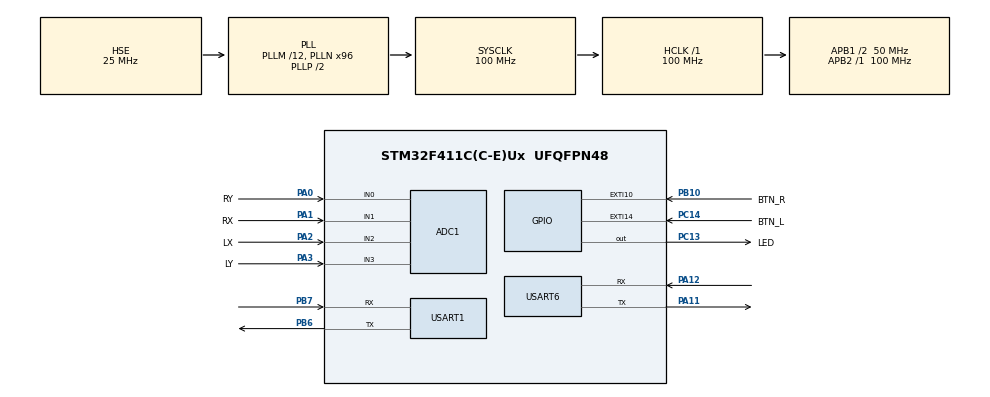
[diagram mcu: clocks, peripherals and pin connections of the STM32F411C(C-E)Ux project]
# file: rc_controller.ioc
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ADC1.Channel-2\#ChannelRegularConversion=ADC_CHANNEL_0
ADC1.Channel-3\#ChannelRegularConversion=ADC_CHANNEL_1
ADC1.Channel-4\#ChannelRegularConversion=ADC_CHANNEL_2
ADC1.Channel-5\#ChannelRegularConversion=ADC_CHANNEL_3
ADC1.ContinuousConvMode=ENABLE
ADC1.DMAContinuousRequests=ENABLE
ADC1.DiscontinuousConvMode=DISABLE
ADC1.EOCSelection=ADC_EOC_SINGLE_CONV
ADC1.InjNumberOfConversion=0
ADC1.NbrOfConversion=4
ADC1.NbrOfConversionFlag=1
ADC1.Rank-2\#ChannelRegularConversion=1
ADC1.Rank-3\#ChannelRegularConversion=2
ADC1.Rank-4\#ChannelRegularConversion=3
ADC1.Rank-5\#ChannelRegularConversion=4
ADC1.SamplingTime-2\#ChannelRegularConversion=ADC_SAMPLETIME_84CYCLES
ADC1.SamplingTime-3\#ChannelRegularConversion=ADC_SAMPLETIME_84CYCLES
ADC1.SamplingTime-4\#ChannelRegularConversion=ADC_SAMPLETIME_84CYCLES
ADC1.SamplingTime-5\#ChannelRegularConversion=ADC_SAMPLETIME_84CYCLES
ADC1.master=1
Dma.ADC1.4.Direction=DMA_PERIPH_TO_MEMORY
Dma.ADC1.4.FIFOMode=DMA_FIFOMODE_DISABLE
Dma.ADC1.4.Instance=DMA2_Stream0
Dma.ADC1.4.MemDataAlignment=DMA_MDATAALIGN_HALFWORD
Dma.ADC1.4.MemInc=DMA_MINC_ENABLE
Dma.ADC1.4.Mode=DMA_CIRCULAR
Dma.ADC1.4.PeriphDataAlignment=DMA_PDATAALIGN_HALFWORD
Dma.ADC1.4.PeriphInc=DMA_PINC_DISABLE
Dma.ADC1.4.Priority=DMA_PRIORITY_LOW
Dma.Request0=USART6_RX
Dma.Request1=USART6_TX
Dma.Request2=USART1_TX
Dma.Request3=USART1_RX
Dma.Request4=ADC1
Dma.USART1_RX.3.Direction=DMA_PERIPH_TO_MEMORY
Dma.USART1_RX.3.FIFOMode=DMA_FIFOMODE_DISABLE
Dma.USART1_RX.3.Instance=DMA2_Stream2
Dma.USART1_RX.3.MemDataAlignment=DMA_MDATAALIGN_BYTE
Dma.USART1_RX.3.MemInc=DMA_MINC_ENABLE
Dma.USART1_RX.3.Mode=DMA_NORMAL
Dma.USART1_RX.3.PeriphDataAlignment=DMA_PDATAALIGN_BYTE
Dma.USART1_RX.3.PeriphInc=DMA_PINC_DISABLE
Dma.USART1_RX.3.Priority=DMA_PRIORITY_LOW
Dma.USART1_TX.2.Direction=DMA_MEMORY_TO_PERIPH
Dma.USART1_TX.2.FIFOMode=DMA_FIFOMODE_DISABLE
Dma.USART1_TX.2.Instance=DMA2_Stream7
Dma.USART1_TX.2.MemDataAlignment=DMA_MDATAALIGN_BYTE
Dma.USART1_TX.2.MemInc=DMA_MINC_ENABLE
Dma.USART1_TX.2.Mode=DMA_NORMAL
Dma.USART1_TX.2.PeriphDataAlignment=DMA_PDATAALIGN_BYTE
Dma.USART1_TX.2.PeriphInc=DMA_PINC_DISABLE
Dma.USART1_TX.2.Priority=DMA_PRIORITY_LOW
Dma.USART6_RX.0.Direction=DMA_PERIPH_TO_MEMORY
Dma.USART6_RX.0.FIFOMode=DMA_FIFOMODE_DISABLE
Dma.USART6_RX.0.Instance=DMA2_Stream1
Dma.USART6_RX.0.MemDataAlignment=DMA_MDATAALIGN_BYTE
Dma.USART6_RX.0.MemInc=DMA_MINC_ENABLE
Dma.USART6_RX.0.Mode=DMA_NORMAL
Dma.USART6_RX.0.PeriphDataAlignment=DMA_PDATAALIGN_BYTE
Dma.USART6_RX.0.PeriphInc=DMA_PINC_DISABLE
Dma.USART6_RX.0.Priority=DMA_PRIORITY_LOW
Dma.USART6_TX.1.Direction=DMA_MEMORY_TO_PERIPH
Dma.USART6_TX.1.FIFOMode=DMA_FIFOMODE_DISABLE
Dma.USART6_TX.1.Instance=DMA2_Stream6
Dma.USART6_TX.1.MemDataAlignment=DMA_MDATAALIGN_BYTE
Dma.USART6_TX.1.MemInc=DMA_MINC_ENABLE
Dma.USART6_TX.1.Mode=DMA_NORMAL
Dma.USART6_TX.1.PeriphDataAlignment=DMA_PDATAALIGN_BYTE
Dma.USART6_TX.1.PeriphInc=DMA_PINC_DISABLE
Dma.USART6_TX.1.Priority=DMA_PRIORITY_LOW
FREERTOS.Tasks01=defaultTask,24,128,StartDefaultTask,Default,NULL,Dynamic,NULL,NULL;task1,24,128,thread1,Default,NULL,Dynamic,NULL,NULL;task2,24,128,thread2,Default,NULL,Dynamic,NULL,NULL;task3,18,128,thread3,Default,NULL,Dynamic,NULL,NULL
FREERTOS.configUSE_NEWLIB_REENTRANT=1
Mcu.Family=STM32F4
Mcu.Name=STM32F411C(C-E)Ux
Mcu.Package=UFQFPN48
NVIC.ADC_IRQn=true\:5\:0\:false\:false\:true\:true\:true\:true\:true
NVIC.DMA2_Stream0_IRQn=true\:5\:0\:false\:false\:true\:true\:false\:true\:true
NVIC.DMA2_Stream1_IRQn=true\:5\:0\:false\:false\:true\:true\:false\:true\:true
NVIC.DMA2_Stream2_IRQn=true\:5\:0\:false\:false\:true\:true\:false\:true\:true
NVIC.DMA2_Stream6_IRQn=true\:5\:0\:false\:false\:true\:true\:false\:true\:true
NVIC.DMA2_Stream7_IRQn=true\:5\:0\:false\:false\:true\:true\:false\:true\:true
NVIC.EXTI15_10_IRQn=true\:5\:0\:false\:false\:true\:true\:true\:true\:true
NVIC.PriorityGroup=NVIC_PRIORITYGROUP_4
NVIC.TIM1_TRG_COM_TIM11_IRQn=true\:15\:0\:false\:false\:true\:false\:false\:true\:true
NVIC.TimeBase=TIM1_TRG_COM_TIM11_IRQn
NVIC.TimeBaseIP=TIM11
NVIC.USART1_IRQn=true\:5\:0\:false\:false\:true\:true\:false\:true\:true
NVIC.USART6_IRQn=true\:5\:0\:false\:false\:true\:true\:true\:true\:true
PA0-WKUP.GPIO_Label=RY
PA0-WKUP.Signal=ADCx_IN0
PA1.GPIO_Label=RX
PA1.Signal=ADCx_IN1
PA11.Mode=Asynchronous
PA11.Signal=USART6_TX
PA12.Mode=Asynchronous
PA12.Signal=USART6_RX
PA2.GPIO_Label=LX
PA2.Signal=ADCx_IN2
PA3.GPIO_Label=LY
PA3.Signal=ADCx_IN3
PB10.GPIO_Label=BTN_R
PB10.GPIO_ModeDefaultEXTI=GPIO_MODE_IT_FALLING
PB10.GPIO_PuPd=GPIO_PULLUP
PB10.Signal=GPXTI10
PB6.Mode=Asynchronous
PB6.Signal=USART1_TX
PB7.Mode=Asynchronous
PB7.Signal=USART1_RX
PC13-ANTI_TAMP.GPIO_Label=LED
PC13-ANTI_TAMP.Signal=GPIO_Output
PC14-OSC32_IN.GPIO_Label=BTN_L
PC14-OSC32_IN.GPIO_ModeDefaultEXTI=GPIO_MODE_IT_FALLING
PC14-OSC32_IN.GPIO_PuPd=GPIO_PULLUP
PC14-OSC32_IN.Signal=GPXTI14
PH0\ -\ OSC_IN.Mode=HSE-External-Oscillator
PH0\ -\ OSC_IN.Signal=RCC_OSC_IN
PH1\ -\ OSC_OUT.Mode=HSE-External-Oscillator
PH1\ -\ OSC_OUT.Signal=RCC_OSC_OUT
ProjectManager.HeapSize=0x200
ProjectManager.StackSize=0x400
ProjectManager.TargetToolchain=Makefile
RCC.48MHZClocksFreq_Value=50000000
RCC.AHBFreq_Value=100000000
RCC.APB1CLKDivider=RCC_HCLK_DIV2
RCC.APB1Freq_Value=50000000
RCC.APB1TimFreq_Value=100000000
RCC.APB2Freq_Value=100000000
RCC.APB2TimFreq_Value=100000000
RCC.CortexFreq_Value=100000000
RCC.HCLKFreq_Value=100000000
RCC.HSE_VALUE=25000000
RCC.HSI_VALUE=16000000
RCC.LSE_VALUE=32768
RCC.PLLM=12
RCC.PLLN=96
RCC.PLLSourceVirtual=RCC_PLLSOURCE_HSE
RCC.SYSCLKFreq_VALUE=100000000
RCC.SYSCLKSource=RCC_SYSCLKSOURCE_PLLCLK
RCC.VCOOutputFreq_Value=200000000
SH.ADCx_IN0.0=ADC1_IN0,IN0
SH.ADCx_IN1.0=ADC1_IN1,IN1
SH.ADCx_IN2.0=ADC1_IN2,IN2
SH.ADCx_IN3.0=ADC1_IN3,IN3
USART1.VirtualMode=VM_ASYNC
USART6.VirtualMode=VM_ASYNC
VP_FREERTOS_VS_CMSIS_V2.Mode=CMSIS_V2
VP_SYS_VS_tim11.Mode=TIM11
board=custom

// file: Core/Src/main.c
/* USER CODE BEGIN Header */
/**
  ******************************************************************************
  * @file           : main.c
  * @brief          : Main program body
  ******************************************************************************
  * @attention
  *
  * Copyright (c) 2024 STMicroelectronics.
  * All rights reserved.
  *
  * This software is licensed under terms that can be found in the LICENSE file
  * in the root directory of this software component.
  * If no LICENSE file comes with this software, it is provided AS-IS.
  *
  ******************************************************************************
  */
/* USER CODE END Header */
#include "main.h"
#include "cmsis_os.h"
#include "adc.h"
#include "dma.h"
#include "usart.h"
#include "gpio.h"

void SystemClock_Config(void);
void MX_FREERTOS_Init(void);

int main(void)
{

  /* MCU Configuration--------------------------------------------------------*/

  /* Reset of all peripherals, Initializes the Flash interface and the Systick. */
  HAL_Init();

  /* Configure the system clock */
  SystemClock_Config();

  /* Initialize all configured peripherals */
  MX_GPIO_Init();
  MX_DMA_Init();
  MX_USART6_UART_Init();
  MX_USART1_UART_Init();
  MX_ADC1_Init();

  /* Init scheduler */
  osKernelInitialize();

  /* Call init function for freertos objects (in cmsis_os2.c) */
  MX_FREERTOS_Init();

  /* Start scheduler */
  osKernelStart();

  /* We should never get here as control is now taken by the scheduler */

  /* Infinite loop */
  while (1)
  {

  }
}

void SystemClock_Config(void)
{
  RCC_OscInitTypeDef RCC_OscInitStruct = {0};
  RCC_ClkInitTypeDef RCC_ClkInitStruct = {0};

  /** Configure the main internal regulator output voltage
  */
  __HAL_RCC_PWR_CLK_ENABLE();
  __HAL_PWR_VOLTAGESCALING_CONFIG(PWR_REGULATOR_VOLTAGE_SCALE1);

  /** Initializes the RCC Oscillators according to the specified parameters
  * in the RCC_OscInitTypeDef structure.
  */
  RCC_OscInitStruct.OscillatorType = RCC_OSCILLATORTYPE_HSE;
  RCC_OscInitStruct.HSEState = RCC_HSE_ON;
  RCC_OscInitStruct.PLL.PLLState = RCC_PLL_ON;
  RCC_OscInitStruct.PLL.PLLSource = RCC_PLLSOURCE_HSE;
  RCC_OscInitStruct.PLL.PLLM = 12;
  RCC_OscInitStruct.PLL.PLLN = 96;
  RCC_OscInitStruct.PLL.PLLP = RCC_PLLP_DIV2;
  RCC_OscInitStruct.PLL.PLLQ = 4;
  if (HAL_RCC_OscConfig(&RCC_OscInitStruct) != HAL_OK)
  {
    Error_Handler();
  }

  /** Initializes the CPU, AHB and APB buses clocks
  */
  RCC_ClkInitStruct.ClockType = RCC_CLOCKTYPE_HCLK|RCC_CLOCKTYPE_SYSCLK
                              |RCC_CLOCKTYPE_PCLK1|RCC_CLOCKTYPE_PCLK2;
  RCC_ClkInitStruct.SYSCLKSource = RCC_SYSCLKSOURCE_PLLCLK;
  RCC_ClkInitStruct.AHBCLKDivider = RCC_SYSCLK_DIV1;
  RCC_ClkInitStruct.APB1CLKDivider = RCC_HCLK_DIV2;
  RCC_ClkInitStruct.APB2CLKDivider = RCC_HCLK_DIV1;

  if (HAL_RCC_ClockConfig(&RCC_ClkInitStruct, FLASH_LATENCY_3) != HAL_OK)
  {
    Error_Handler();
  }
}

void HAL_TIM_PeriodElapsedCallback(TIM_HandleTypeDef *htim)
{
  if (htim->Instance == TIM11) {
    HAL_IncTick();
  }
}

void Error_Handler(void)
{
  __disable_irq();
  while (1)
  {
  }
}

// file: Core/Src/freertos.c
/* USER CODE BEGIN Header */
/**
  ******************************************************************************
  * File Name          : freertos.c
  * Description        : Code for freertos applications
  ******************************************************************************
  * @attention
  *
  * Copyright (c) 2024 STMicroelectronics.
  * All rights reserved.
  *
  * This software is licensed under terms that can be found in the LICENSE file
  * in the root directory of this software component.
  * If no LICENSE file comes with this software, it is provided AS-IS.
  *
  ******************************************************************************
  */
 #include <stdio.h>
 #include <string.h>
/* USER CODE END Header */

#include "FreeRTOS.h"
#include "task.h"
#include "main.h"
#include "cmsis_os.h"

/* USER CODE BEGIN Includes */
#include "usart.h"
#include "adc.h"
/* USER CODE END Includes */

/* USER CODE BEGIN PD */
#ifdef __GNUC__
#define PUTCHAR_PROTOTYPE int __io_putchar(int ch)
#else
#define PUTCHAR_PROTOTYPE int fputc(int ch, FILE *f)
#endif
/* USER CODE END PD */

/* USER CODE BEGIN Variables */

uint16_t adcValue[4] = {0,};

uint8_t btn_r_flag = 0;
uint8_t btn_l_flag = 0;

/* USER CODE END Variables */
/* Definitions for defaultTask */
osThreadId_t defaultTaskHandle;
const osThreadAttr_t defaultTask_attributes = {
  .name = "defaultTask",
  .stack_size = 128 * 4,
  .priority = (osPriority_t) osPriorityNormal,
};
/* Definitions for task1 */
osThreadId_t task1Handle;
const osThreadAttr_t task1_attributes = {
  .name = "task1",
  .stack_size = 128 * 4,
  .priority = (osPriority_t) osPriorityNormal,
};
/* Definitions for task2 */
osThreadId_t task2Handle;
const osThreadAttr_t task2_attributes = {
  .name = "task2",
  .stack_size = 128 * 4,
  .priority = (osPriority_t) osPriorityNormal,
};
/* Definitions for task3 */
osThreadId_t task3Handle;
const osThreadAttr_t task3_attributes = {
  .name = "task3",
  .stack_size = 128 * 4,
  .priority = (osPriority_t) osPriorityBelowNormal2,
};

/* USER CODE BEGIN FunctionPrototypes */

void HAL_GPIO_EXTI_Callback(uint16_t GPIO_Pin){
    if(GPIO_Pin == GPIO_PIN_14){
        btn_l_flag = 1;
    }
    else if(GPIO_Pin == GPIO_PIN_10){
        btn_r_flag = 1;
    }
    return;
}

PUTCHAR_PROTOTYPE{
    HAL_UART_Transmit(&huart1, (uint8_t *)&ch, 1, 0xFFFF);
    return ch;
}
/* USER CODE END FunctionPrototypes */

void StartDefaultTask(void *argument);
void thread1(void *argument);
void thread2(void *argument);
void thread3(void *argument);

void MX_FREERTOS_Init(void); /* (MISRA C 2004 rule 8.1) */

void MX_FREERTOS_Init(void) {
  /* USER CODE BEGIN Init */
  HAL_ADC_Start_DMA(&hadc1, adcValue, 4); // 채널 4개
  /* USER CODE END Init */

  /* Create the thread(s) */
  /* creation of defaultTask */
  defaultTaskHandle = osThreadNew(StartDefaultTask, NULL, &defaultTask_attributes);

  /* creation of task1 */
  task1Handle = osThreadNew(thread1, NULL, &task1_attributes);

  /* creation of task2 */
  task2Handle = osThreadNew(thread2, NULL, &task2_attributes);

  /* creation of task3 */
  task3Handle = osThreadNew(thread3, NULL, &task3_attributes);

}

void StartDefaultTask(void *argument)
{
  /* USER CODE BEGIN StartDefaultTask */
  /* Infinite loop */
  for(;;)
  {
    HAL_GPIO_TogglePin(LED_GPIO_Port, LED_Pin);
    osDelay(500);
  }
  /* USER CODE END StartDefaultTask */
}

void thread1(void *argument)
{
  /* USER CODE BEGIN thread1 */
  /* Infinite loop */
  uint8_t btn_temp;
  for(;;)
  {
    btn_temp = 0;
    if (btn_l_flag == 1){
        btn_temp += 1;
        btn_l_flag = 0;
    }
    if (btn_r_flag == 1){
        btn_temp += 2;
        btn_r_flag = 0;
    }
    // left_x, left_y, right_y, right_x, btn_l:1, btn_r:2 btn_l+btn_r:3
    printf("%d,%d,%d,%d,%d\n", adcValue[0], adcValue[1], adcValue[2], adcValue[3], btn_temp);
    osDelay(20);
  }
  /* USER CODE END thread1 */
}

void thread2(void *argument)
{
  /* USER CODE BEGIN thread2 */
  /* Infinite loop */
  for(;;)
  {
    //
    // HAL_UART_Transmit(&huart1, "Hello from task2\n", 17, 1000);
    osDelay(500);
  }
  /* USER CODE END thread2 */
}

void thread3(void *argument)
{
  /* USER CODE BEGIN thread3 */
  /* Infinite loop */
  for(;;)
  {
    osDelay(500);
  }
  /* USER CODE END thread3 */
}
